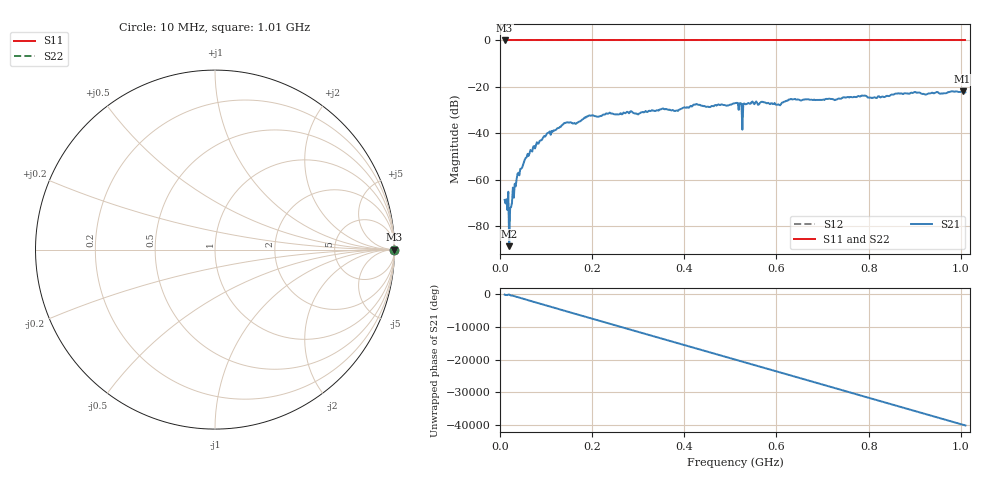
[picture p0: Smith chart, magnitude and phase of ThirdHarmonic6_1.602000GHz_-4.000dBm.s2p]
! 8/16/2025 7:05:56 PM
! C:\ANRITSUVNA\TEMP\TEMP.S2P
! CHANNEL.1
! TR.MEASUREMENT
! RAW.DATA
! RF.CORRECTION.OFF
! AVERAGING.OFF
! IF.BANDWIDTH: 5KHZ
! SWEEPTYPE:  FREQ.SWEEP(Linear)
! Reference Plane Port Info
! PORT:  PORT1  PORT2
! DISTANCE:  0  m  0  m
! TIME:  0  s  0  s
! PHASE.OFFSET:  0  deg.  0  deg.
! LOSS:  0  dB  0  dB
! REF.LOSS:  0  dB  0  dB
! REF.FREQ:  0  Hz  0  Hz
! Power Info
! POWER:  -20  dBm  -20  dBm
! EFF.POWER:  -20  dBm  -20  dBm
! SOURCE.ATTEN:  0  dB  0  dB
! TEST.ATTEN:  0  dB  0  dB
# GHZ S RI R 50.0
! FREQ.GHZ  S11RE  S11IM  S21RE  S21IM  S12RE  S12IM  S22RE  S22IM
!; PortSelection: Port_12
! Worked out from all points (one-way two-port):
!   501 points, 10 MHz to 1.01 GHz, reference 50 ohm
!   highest |S21| = -21.84 dB at 1.004 GHz (marker M1); lowest = -88.7 dB at 20 MHz (marker M2)
!   lowest |S11| = 0.0 dB at 10 MHz (marker M3)
!   |S11| at or under -10 dB: nowhere
!   |S22| runs from 0.0 to 0.0 dB; largest |S21 - S12| = 1.1
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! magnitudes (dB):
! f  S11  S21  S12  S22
! 10 MHz  0.0  -68.7  0.0  0.0
! 14 MHz  0.0  -68.5  0.0  0.0
! 20 MHz  0.0  -88.7  0.0  0.0
! 24 MHz  0.0  -71.9  0.0  0.0
! 32 MHz  0.0  -61.8  0.0  0.0
! 40 MHz  0.0  -57.0  0.0  0.0
! 70 MHz  0.0  -47.9  0.0  0.0
! 104 MHz  0.0  -39.9  0.0  0.0
! 140 MHz  0.0  -35.6  0.0  0.0
! 178 MHz  0.0  -34.2  0.0  0.0
! 234 MHz  0.0  -31.6  0.0  0.0
! 344 MHz  0.0  -30.3  0.0  0.0
! 510 MHz  0.0  -27.1  0.0  0.0
! 520 MHz  0.0  -27.1  0.0  0.0
! 522 MHz  0.0  -27.0  0.0  0.0
! 544 MHz  0.0  -27.3  0.0  0.0
! 604 MHz  0.0  -27.6  0.0  0.0
! 630 MHz  0.0  -25.3  0.0  0.0
! 678 MHz  0.0  -25.7  0.0  0.0
! 844 MHz  0.0  -24.0  0.0  0.0
! 1.004 GHz  0.0  -21.8  0.0  0.0
! 1.01 GHz  0.0  -22.4  0.0  0.0
